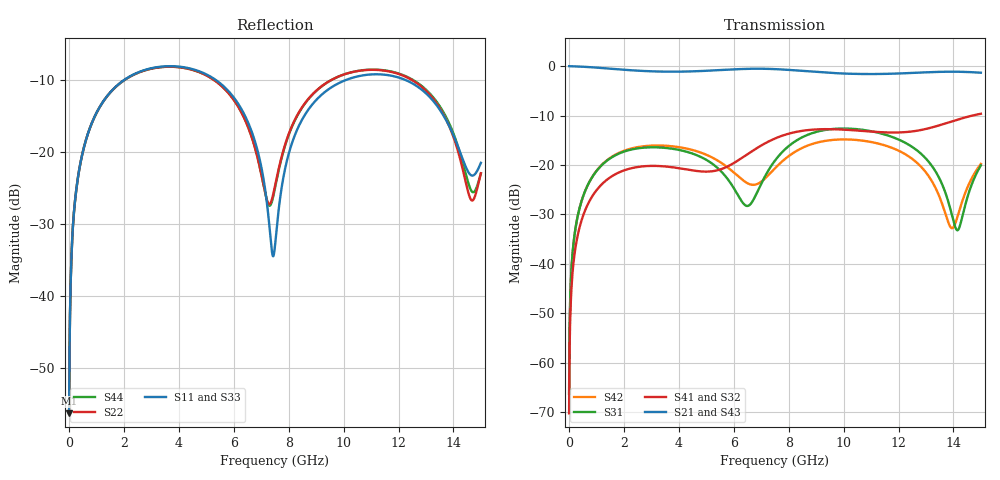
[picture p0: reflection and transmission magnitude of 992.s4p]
! Created with skrf 1.8.0 (http://scikit-rf.org).
# GHz S RI R 50.0
!freq ReS11 ImS11 ReS12 ImS12 ReS13 ImS13
! ReS14 ImS14
! ReS21 ImS21 ReS22 ImS22 ReS23 ImS23
! ReS24 ImS24
! ReS31 ImS31 ReS32 ImS32 ReS33 ImS33
! ReS34 ImS34
! ReS41 ImS41 ReS42 ImS42 ReS43 ImS43
! ReS44 ImS44
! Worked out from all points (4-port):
!   2499 points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, 5 MHz to 15 GHz, reference 50 ohm
!   strongest paths, dB at 5 MHz, 3.476 GHz, 7.19 GHz, 11.1 GHz, 15 GHz:
!     S21: 0.0, -1.1, -0.5, -1.6, -1.3
!     S43: 0.0, -1.1, -0.5, -1.6, -1.3
!     S41: -70.3, -20.3, -15.5, -13.3, -9.6
!     S32: -70.3, -20.3, -15.5, -13.3, -9.6
!     S31: -66.3, -16.5, -21.8, -13.3, -20.1
!     S42: -66.3, -16.1, -22.5, -15.5, -19.8
!   lowest |S11| = -56.3 dB at 5 MHz (marker M1), VSWR 1.00, Z = 50.1 + j0.0933 ohm
!   |S11| at or under -10 dB: start of sweep to 1.986 GHz; 5.368 GHz to 10.05 GHz (4.678 GHz wide, 60.7 % of centre); 12.29 GHz to end of sweep
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0.005  0.00122 0.000931  0.9988 -0.00238  6.01e-05 0.000479  -5.85e-05 -0.000301
       0.9988 -0.00238  0.00122 0.000931  -5.85e-05 -0.000301  6.02e-05 0.000479
       6.01e-05 0.000479  -5.85e-05 -0.000301  0.00122 0.000931  0.9988 -0.00238
       -5.85e-05 -0.000301  6.02e-05 0.000479  0.9988 -0.00238  0.00122 0.000931
0.4126719  0.0223 0.0804  0.9692 -0.1951  0.0101 0.0377  -0.00865 -0.0233
           0.9692 -0.1951  0.0222 0.0804  -0.00865 -0.0233  0.0108 0.0375
           0.0101 0.0377  -0.00865 -0.0233  0.0223 0.0804  0.9692 -0.1951
           -0.00865 -0.0233  0.0108 0.0375  0.9692 -0.1951  0.0222 0.0804
2.075865  0.2702 0.18  0.5524 -0.7301  0.1212 0.067  -0.0891 -0.00664
          0.5524 -0.7301  0.2674 0.1818  -0.0892 -0.00664  0.1304 0.0545
          0.1212 0.067  -0.0892 -0.00664  0.2703 0.1801  0.5523 -0.7301
          -0.0891 -0.00664  0.1304 0.0545  0.5523 -0.7301  0.2675 0.1818
7.334306  0.0183 -0.0185  -0.9343 -0.0646  0.058 0.075  -0.00876 0.176
          -0.9343 -0.0646  0.044 0.0044  -0.0085 0.1758  -0.0541 0.0627
          0.058 0.075  -0.0085 0.1758  0.0197 -0.0198  -0.9342 -0.0647
          -0.00876 0.176  -0.0541 0.0627  -0.9342 -0.0647  0.0428 0.00295
10.198  0.3052 0.1094  -0.3685 0.7523  0.2292 -0.0421  0.2244 0.0254
        -0.3685 0.7523  0.3474 0.0797  0.2239 0.0252  0.1756 0.043
        0.2292 -0.0421  0.2239 0.0252  0.3073 0.1064  -0.3672 0.7526
        0.2244 0.0254  0.1756 0.043  -0.3672 0.7526  0.3471 0.0821
14.13714  0.0868 -0.073  0.8011 0.3576  -0.0217 0.00247  0.11 -0.2647
          0.8011 0.3576  0.0619 -0.0867  0.1108 -0.2644  -0.025 0.0152
          -0.0217 0.00247  0.1108 -0.2644  0.0847 -0.0816  0.8007 0.3567
          0.11 -0.2647  -0.025 0.0152  0.8007 0.3567  0.0692 -0.091
15  0.076 0.0371  0.8571 0.0264  0.0377 0.0914  -0.00518 -0.3293
    0.8571 0.0264  0.0572 0.0431  -0.00455 -0.3297  0.0148 0.1013
    0.0377 0.0914  -0.00455 -0.3297  0.0715 0.0288  0.8574 0.0256
    -0.00518 -0.3293  0.0148 0.1013  0.8574 0.0256  0.0621 0.0352
